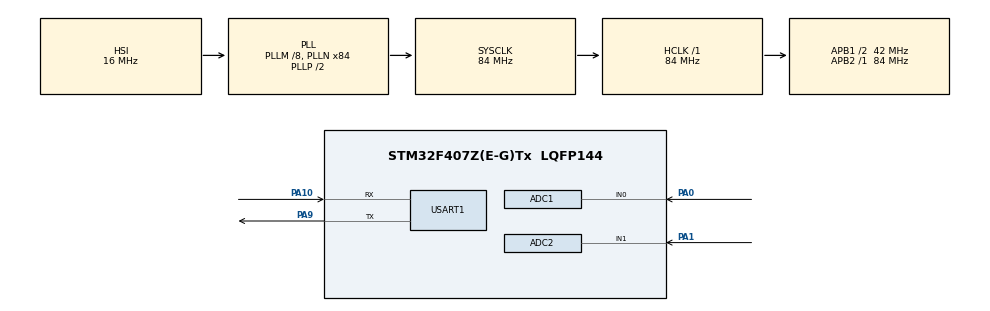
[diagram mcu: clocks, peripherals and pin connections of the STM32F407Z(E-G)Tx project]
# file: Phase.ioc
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ADC1.Channel-0\#ChannelRegularConversion=ADC_CHANNEL_0
ADC1.ExternalTrigConv=ADC_EXTERNALTRIGCONV_T3_TRGO
ADC1.NbrOfConversionFlag=1
ADC1.Rank-0\#ChannelRegularConversion=1
ADC1.SamplingTime-0\#ChannelRegularConversion=ADC_SAMPLETIME_3CYCLES
ADC1.master=1
ADC2.Channel-1\#ChannelRegularConversion=ADC_CHANNEL_1
ADC2.ExternalTrigConv=ADC_EXTERNALTRIGCONV_T3_TRGO
ADC2.NbrOfConversionFlag=1
ADC2.Rank-1\#ChannelRegularConversion=1
ADC2.SamplingTime-1\#ChannelRegularConversion=ADC_SAMPLETIME_3CYCLES
Dma.ADC1.0.Direction=DMA_PERIPH_TO_MEMORY
Dma.ADC1.0.FIFOMode=DMA_FIFOMODE_DISABLE
Dma.ADC1.0.Instance=DMA2_Stream0
Dma.ADC1.0.MemDataAlignment=DMA_MDATAALIGN_HALFWORD
Dma.ADC1.0.MemInc=DMA_MINC_ENABLE
Dma.ADC1.0.Mode=DMA_NORMAL
Dma.ADC1.0.PeriphDataAlignment=DMA_PDATAALIGN_HALFWORD
Dma.ADC1.0.PeriphInc=DMA_PINC_DISABLE
Dma.ADC1.0.Priority=DMA_PRIORITY_LOW
Dma.ADC2.1.Direction=DMA_PERIPH_TO_MEMORY
Dma.ADC2.1.FIFOMode=DMA_FIFOMODE_DISABLE
Dma.ADC2.1.Instance=DMA2_Stream2
Dma.ADC2.1.MemDataAlignment=DMA_MDATAALIGN_HALFWORD
Dma.ADC2.1.MemInc=DMA_MINC_ENABLE
Dma.ADC2.1.Mode=DMA_NORMAL
Dma.ADC2.1.PeriphDataAlignment=DMA_PDATAALIGN_HALFWORD
Dma.ADC2.1.PeriphInc=DMA_PINC_DISABLE
Dma.ADC2.1.Priority=DMA_PRIORITY_LOW
Dma.Request0=ADC1
Dma.Request1=ADC2
Mcu.Family=STM32F4
Mcu.Name=STM32F407Z(E-G)Tx
Mcu.Package=LQFP144
NVIC.DMA2_Stream0_IRQn=true\:0\:0\:false\:false\:true\:false\:true\:true
NVIC.DMA2_Stream2_IRQn=true\:0\:0\:false\:false\:true\:false\:true\:true
NVIC.PriorityGroup=NVIC_PRIORITYGROUP_4
PA0-WKUP.Signal=ADCx_IN0
PA1.Signal=ADCx_IN1
PA10.Mode=Asynchronous
PA10.Signal=USART1_RX
PA13.Mode=Serial_Wire
PA13.Signal=SYS_JTMS-SWDIO
PA14.Mode=Serial_Wire
PA14.Signal=SYS_JTCK-SWCLK
PA9.Mode=Asynchronous
PA9.Signal=USART1_TX
PH0-OSC_IN.Mode=HSE-External-Oscillator
PH0-OSC_IN.Signal=RCC_OSC_IN
PH1-OSC_OUT.Mode=HSE-External-Oscillator
PH1-OSC_OUT.Signal=RCC_OSC_OUT
ProjectManager.HeapSize=0x200
ProjectManager.StackSize=0x400
ProjectManager.TargetToolchain=MDK-ARM V5.32
RCC.48MHZClocksFreq_Value=42000000
RCC.AHBFreq_Value=84000000
RCC.APB1CLKDivider=RCC_HCLK_DIV2
RCC.APB1Freq_Value=42000000
RCC.APB1TimFreq_Value=84000000
RCC.APB2Freq_Value=84000000
RCC.APB2TimFreq_Value=84000000
RCC.CortexFreq_Value=84000000
RCC.HCLKFreq_Value=84000000
RCC.HSE_VALUE=25000000
RCC.HSI_VALUE=16000000
RCC.LSE_VALUE=32768
RCC.PLLM=8
RCC.PLLN=84
RCC.SYSCLKFreq_VALUE=84000000
RCC.SYSCLKSource=RCC_SYSCLKSOURCE_PLLCLK
RCC.VCOOutputFreq_Value=168000000
SH.ADCx_IN0.0=ADC1_IN0,IN0
SH.ADCx_IN1.0=ADC2_IN1,IN1
TIM3.AutoReloadPreload=TIM_AUTORELOAD_PRELOAD_ENABLE
TIM3.Period=82-1
TIM3.TIM_MasterOutputTrigger=TIM_TRGO_UPDATE
USART1.VirtualMode=VM_ASYNC
VP_TIM3_VS_ClockSourceINT.Mode=Internal
board=custom

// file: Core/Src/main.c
/* USER CODE BEGIN Header */
/**
  ******************************************************************************
  * @file           : main.c
  * @brief          : Main program body
  ******************************************************************************
  * @attention
  *
  * Copyright (c) 2025 STMicroelectronics.
  * All rights reserved.
  *
  * This software is licensed under terms that can be found in the LICENSE file
  * in the root directory of this software component.
  * If no LICENSE file comes with this software, it is provided AS-IS.
  *
  ******************************************************************************
  */
/* USER CODE END Header */
#include "main.h"
#include "adc.h"
#include "dma.h"
#include "tim.h"
#include "usart.h"
#include "gpio.h"

/* USER CODE BEGIN Includes */
#include "arm_math.h"
#include "arm_const_structs.h"
#include "stdio.h"
/* USER CODE END Includes */

/* USER CODE BEGIN PV */
// 新增校准数据结构
// 新增校准数据结构
typedef struct {
    float freq;      // 频率点(Hz)
    float offset;    // 该频率点的相位偏移(度)
} PhaseCalibrationPoint;

#define CALIBRATION_POINTS 10  // 校准点数量
static PhaseCalibrationPoint calibration_table[CALIBRATION_POINTS] = {
    {1000,   73.5f},   // 1kHz时的校准值
    {5000,   72.8f},   // 5kHz
    {10000,  71.2f},   // 10kHz
    {20000,  69.5f},   // 20kHz
    {50000,  65.0f},   // 50kHz
    {100000, 60.0f},   // 100kHz
    {200000, 55.0f},   // 200kHz
    {300000, 50.0f},   // 300kHz
    {400000, 45.0f},   // 400kHz
    {500000, 40.0f}    // 500kHz
};
static float last_calibrated_freq = 0;
static float current_offset = 73.5f;  // 默认1kHz校准值
#define SAMPLE_LEN (2*N-1)  // 127个采样点
#define FFT_LENGTH 1024
static float hanning_window[FFT_LENGTH];  // 预计算汉宁窗
uint8_t hanning_initialized = 0;         // 汉宁窗初始化标志
/*
AdcConvEnd用来检测ADC是否采集完毕
0：没有采集完毕
1：采集完毕，在stm32f1xx_it里的DMA完成中断进行修改
 */
__IO uint8_t AdcConvEnd1 = 0;
__IO uint8_t AdcConvEnd2 = 0;
uint16_t adcBuff1[FFT_LENGTH];
uint16_t adcBuff2[FFT_LENGTH];
float fft_inputbuf[FFT_LENGTH*2];
float fft_outputbuf[FFT_LENGTH];
/* USER CODE END PV */

void SystemClock_Config(void);
/* USER CODE BEGIN PFP */
float Calculate_Frequency(uint16_t *adc_data, uint32_t fft_size, float sampling_freq);
float Calculate_Phase_Difference_Corrected(uint16_t *adc_data1, uint16_t *adc_data2, uint32_t fft_size, float sampling_freq);
/* USER CODE END PFP */

int main(void)
{

  /* USER CODE BEGIN 1 */

  float sampling_freq = 1024280.f; // 修改为1MHz
  /* USER CODE END 1 */

  /* MCU Configuration--------------------------------------------------------*/

  /* Reset of all peripherals, Initializes the Flash interface and the Systick. */
  HAL_Init();

  /* Configure the system clock */
  SystemClock_Config();

  /* Initialize all configured peripherals */
  MX_GPIO_Init();
  MX_DMA_Init();
  MX_ADC1_Init();
  MX_TIM3_Init();
  MX_USART1_UART_Init();
  MX_ADC2_Init();
  /* USER CODE BEGIN 2 */
HAL_ADC_Start_DMA(&hadc1, (uint32_t *)adcBuff1, FFT_LENGTH);
HAL_ADC_Start_DMA(&hadc2, (uint32_t *)adcBuff2, FFT_LENGTH);
HAL_TIM_Base_Start(&htim3);

while (!AdcConvEnd1 && AdcConvEnd2)       //等待转换完毕
	;
///////////////////////////////////////////////////////////
for (int i = 0; i < FFT_LENGTH; i++)
{
    fft_inputbuf[i * 2] = adcBuff1[i] * 3.3 / 4096;//实部赋值，* 3.3 / 4096是为了将ADC采集到的值转换成实际电压
    fft_inputbuf[i * 2 + 1] = 0;//虚部赋值，固定为0.
}
for (int i = 0; i < FFT_LENGTH; i++)
{
    fft_inputbuf[i * 2] = adcBuff2[i] * 3.3 / 4096;//实部赋值，* 3.3 / 4096是为了将ADC采集到的值转换成实际电压
    fft_inputbuf[i * 2 + 1] = 0;//虚部赋值，固定为0.
}
////////////////////////////////////////////////////////////
arm_cfft_f32(&arm_cfft_sR_f32_len1024, fft_inputbuf, 0, 1);
arm_cmplx_mag_f32(fft_inputbuf, fft_outputbuf, FFT_LENGTH);
fft_outputbuf[0] /= 1024;

for (int i = 1; i < FFT_LENGTH; i++)//输出各次谐波幅值
{
    fft_outputbuf[i] /= 512;
}
float freq1 = Calculate_Frequency(adcBuff1, FFT_LENGTH, sampling_freq);
float freq2 = Calculate_Frequency(adcBuff2, FFT_LENGTH, sampling_freq);
printf("Measured Frequency1	: %.2f kHz\r\n", freq1/1000);
printf("Measured Frequency2	: %.2f kHz\r\n", freq2/1000);
float phase_diff = Calculate_Phase_Difference_Corrected(adcBuff1, adcBuff2, FFT_LENGTH, sampling_freq);
printf("Corrected phase difference: %.2f degrees\r\n", phase_diff);
AdcConvEnd1 = 0;AdcConvEnd2 = 0;
HAL_ADC_Start_DMA(&hadc1, (uint32_t *)adcBuff1, FFT_LENGTH);
HAL_ADC_Start_DMA(&hadc2, (uint32_t *)adcBuff2, FFT_LENGTH);
  /* USER CODE END 2 */

  /* Infinite loop */
  while (1)
  {

  }
}

void SystemClock_Config(void)
{
  RCC_OscInitTypeDef RCC_OscInitStruct = {0};
  RCC_ClkInitTypeDef RCC_ClkInitStruct = {0};

  /** Configure the main internal regulator output voltage
  */
  __HAL_RCC_PWR_CLK_ENABLE();
  __HAL_PWR_VOLTAGESCALING_CONFIG(PWR_REGULATOR_VOLTAGE_SCALE1);

  /** Initializes the RCC Oscillators according to the specified parameters
  * in the RCC_OscInitTypeDef structure.
  */
  RCC_OscInitStruct.OscillatorType = RCC_OSCILLATORTYPE_HSI;
  RCC_OscInitStruct.HSIState = RCC_HSI_ON;
  RCC_OscInitStruct.HSICalibrationValue = RCC_HSICALIBRATION_DEFAULT;
  RCC_OscInitStruct.PLL.PLLState = RCC_PLL_ON;
  RCC_OscInitStruct.PLL.PLLSource = RCC_PLLSOURCE_HSI;
  RCC_OscInitStruct.PLL.PLLM = 8;
  RCC_OscInitStruct.PLL.PLLN = 84;
  RCC_OscInitStruct.PLL.PLLP = RCC_PLLP_DIV2;
  RCC_OscInitStruct.PLL.PLLQ = 4;
  if (HAL_RCC_OscConfig(&RCC_OscInitStruct) != HAL_OK)
  {
    Error_Handler();
  }

  /** Initializes the CPU, AHB and APB buses clocks
  */
  RCC_ClkInitStruct.ClockType = RCC_CLOCKTYPE_HCLK|RCC_CLOCKTYPE_SYSCLK
                              |RCC_CLOCKTYPE_PCLK1|RCC_CLOCKTYPE_PCLK2;
  RCC_ClkInitStruct.SYSCLKSource = RCC_SYSCLKSOURCE_PLLCLK;
  RCC_ClkInitStruct.AHBCLKDivider = RCC_SYSCLK_DIV1;
  RCC_ClkInitStruct.APB1CLKDivider = RCC_HCLK_DIV2;
  RCC_ClkInitStruct.APB2CLKDivider = RCC_HCLK_DIV1;

  if (HAL_RCC_ClockConfig(&RCC_ClkInitStruct, FLASH_LATENCY_2) != HAL_OK)
  {
    Error_Handler();
  }
}

/* USER CODE BEGIN 4 */
float Calculate_Frequency(uint16_t *adc_data, uint32_t fft_size, float sampling_freq)
	{
    // 1. 准备FFT输入数据
    for (uint32_t i = 0; i < fft_size; i++) {
        fft_inputbuf[i * 2] = (float)adc_data[i] * 3.3f / 4096.0f;
        fft_inputbuf[i * 2 + 1] = 0.0f;
    }
    // 2. 执行FFT计算
    arm_cfft_f32(&arm_cfft_sR_f32_len1024, fft_inputbuf, 0, 1);

    // 3. 计算幅度谱
    arm_cmplx_mag_f32(fft_inputbuf, fft_outputbuf, fft_size);
    // 4. 寻找基波频率（最大幅值对应的频率）
    float max_magnitude = 0.0f;
    uint32_t max_idx = 0;
    for (uint32_t i = 1; i < fft_size / 2; i++) {
        if (fft_outputbuf[i] > max_magnitude) {
            max_magnitude = fft_outputbuf[i];
            max_idx = i;
        }
    }
    // 5. 使用三点插值法提高频率精度
    float y1 = fft_outputbuf[max_idx - 1];
    float y2 = fft_outputbuf[max_idx];
    float y3 = fft_outputbuf[max_idx + 1];
    // 抛物线插值公式
    float delta = 0.5f * (y3 - y1) / (1.0f * y2 - y1 - y3);
    float interpolated_idx = (float)max_idx + delta;
    // 6. 计算实际频率
    float frequency = interpolated_idx * (sampling_freq / fft_size);
    // 7. 保留小数点后两位
    return roundf(frequency * 100.0f) / 100.0f;
}
float Get_Frequency_Dependent_Offset(float measured_freq) {
    // 1. 边界检查
    if (measured_freq <= calibration_table[0].freq) {
        return calibration_table[0].offset;
    }
    if (measured_freq >= calibration_table[CALIBRATION_POINTS-1].freq) {
        return calibration_table[CALIBRATION_POINTS-1].offset;
    }

    // 2. 查找最近的校准点
    uint8_t i = 0;
    while (i < CALIBRATION_POINTS-1 && measured_freq > calibration_table[i+1].freq) {
        i++;
    }

    // 3. 线性插值计算
    float x0 = calibration_table[i].freq;
    float x1 = calibration_table[i+1].freq;
    float y0 = calibration_table[i].offset;
    float y1 = calibration_table[i+1].offset;

    return y0 + ( (y1-y0) * (measured_freq - x0) / (x1 - x0) );
}

float Calculate_Phase_Difference_Corrected(uint16_t *adc_data1, uint16_t *adc_data2, uint32_t fft_size, float sampling_freq)
{
    static float fft_inputbuf1[FFT_LENGTH * 2];
    static float fft_inputbuf2[FFT_LENGTH * 2];

    // 1. 预计算汉宁窗(只需一次)
    if (!hanning_initialized) {
        for (uint32_t i = 0; i < fft_size; i++) {
            hanning_window[i] = 0.5f * (1.0f - arm_cos_f32(2 * PI * i / (fft_size - 1)));
        }
        hanning_initialized = 1;
    }

    // 2. 手动计算均值(替代arm_mean_f32)
    float mean1 = 0.0f;
    float mean2 = 0.0f;
    for (uint32_t i = 0; i < fft_size; i++) {
        mean1 += (float)adc_data1[i];
        mean2 += (float)adc_data2[i];
    }
    mean1 /= fft_size;
    mean2 /= fft_size;

    // 3. 应用汉宁窗并准备FFT输入
    for (uint32_t i = 0; i < fft_size; i++) {
        float sample1 = ((float)adc_data1[i] - mean1) * hanning_window[i];
        float sample2 = ((float)adc_data2[i] - mean2) * hanning_window[i];

        fft_inputbuf1[2*i] = sample1;
        fft_inputbuf1[2*i + 1] = 0.0f;
        fft_inputbuf2[2*i] = sample2;
        fft_inputbuf2[2*i + 1] = 0.0f;
    }

    // 4. 执行FFT计算
    arm_cfft_f32(&arm_cfft_sR_f32_len1024, fft_inputbuf1, 0, 1);
    arm_cfft_f32(&arm_cfft_sR_f32_len1024, fft_inputbuf2, 0, 1);
    // 5. 基频搜索，扩大搜索范围
    float max_sq_mag = 0.0f;
    uint32_t max_idx = 0;
    const uint32_t search_end = fft_size / 2;

    for (uint32_t i = 5; i < search_end; i++)
		{
        float real1 = fft_inputbuf1[i*2];
        float imag1 = fft_inputbuf1[i*2+1];
        float sq_mag = real1*real1 + imag1*imag1;

        if (sq_mag > max_sq_mag) {
            max_sq_mag = sq_mag;
            max_idx = i;
        }
    }
    // 7. 计算相位差
    float re1 = fft_inputbuf1[max_idx * 2];
    float im1 = fft_inputbuf1[max_idx * 2 + 1];
    float re2 = fft_inputbuf2[max_idx * 2];
    float im2 = fft_inputbuf2[max_idx * 2 + 1];
    float real = re1 * re2 + im1 * im2;
    float imag = im1 * re2 - re1 * im2;
    float phase_diff = atan2f(imag, real);
    // 9. 相位差规范化到[-π, π]
    while (phase_diff > PI) phase_diff -= 2 * PI;
    while (phase_diff < -PI) phase_diff += 2 * PI;

    return phase_diff * (180.0f / PI);
}

/* USER CODE END 4 */

void Error_Handler(void)
{
  __disable_irq();
  while (1)
  {
  }
}
